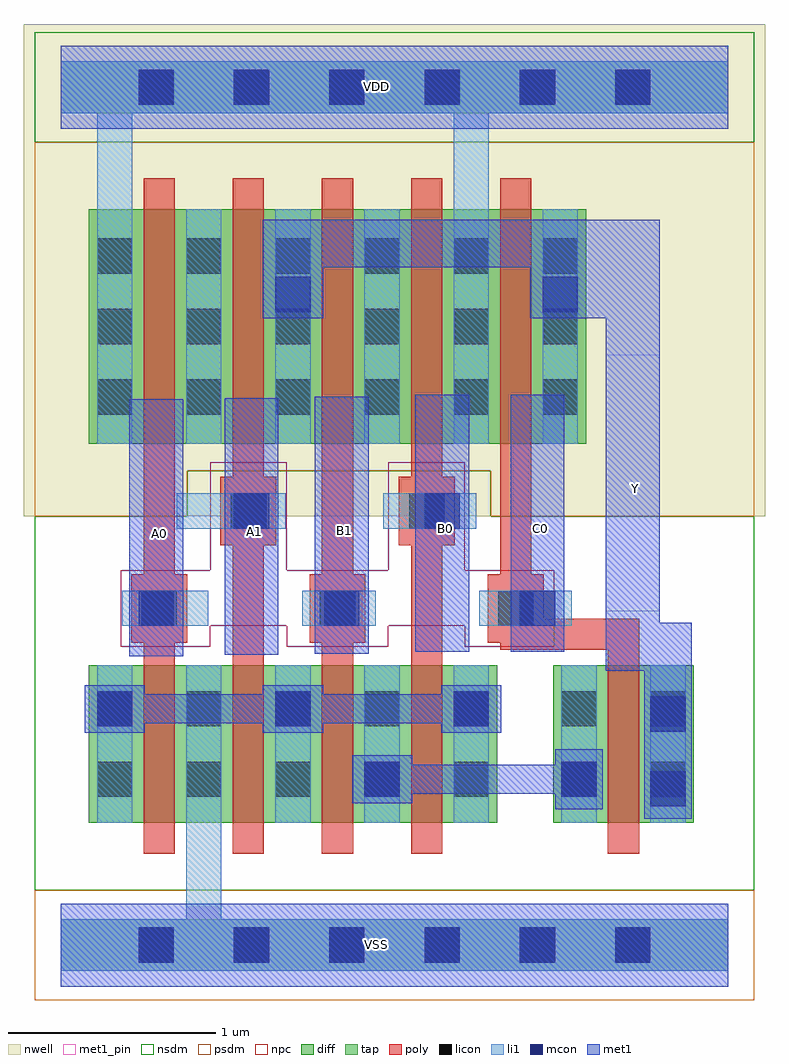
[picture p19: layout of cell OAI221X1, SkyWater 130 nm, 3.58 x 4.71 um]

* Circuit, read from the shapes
.subckt OAI221X1 A0 A1 B0 B1 C0 VDD VSS Y
XM1 VSS A0 n1 VSS sky130_fd_pr__nfet_01v8 w=0.76 l=0.15
XM2 n1 A1 VSS VSS sky130_fd_pr__nfet_01v8 w=0.76 l=0.15
XM3 n2 B1 n1 VSS sky130_fd_pr__nfet_01v8 w=0.76 l=0.15
XM4 n1 B0 n2 VSS sky130_fd_pr__nfet_01v8 w=0.76 l=0.15
XM5 Y C0 n2 VSS sky130_fd_pr__nfet_01v8 w=0.76 l=0.15
XM6 n3 A0 VDD VDD sky130_fd_pr__pfet_01v8 w=1.13 l=0.15
XM7 Y A1 n3 VDD sky130_fd_pr__pfet_01v8 w=1.13 l=0.15
XM8 n4 B1 Y VDD sky130_fd_pr__pfet_01v8 w=1.13 l=0.15
XM9 VDD B0 n4 VDD sky130_fd_pr__pfet_01v8 w=1.13 l=0.15
XM10 Y C0 VDD VDD sky130_fd_pr__pfet_01v8 w=1.13 l=0.15
.ends

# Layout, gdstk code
from math import pi, radians
import gdstk
lib = gdstk.Library(unit=1e-6, precision=1e-09)
def R(c, l, rs):  # rectangles x0, y0, x1, y1
    for r in rs: c.add(gdstk.rectangle(r[:2], r[2:], *l))
def A(c, l, x, y, w, h, nx, ny, dx, dy):  # array of equal rectangles
    R(c, l, [(x+i*dx, y+j*dy, x+i*dx+w, y+j*dy+h) for i in range(nx) for j in range(ny)])
def P(c, l, *ps):  # polygons
    for p in ps: c.add(gdstk.Polygon(p, *l))
nwell = (64, 20)
diff = (65, 20)
tap = (65, 44)
poly = (66, 20)
licon = (66, 44)
li1 = (67, 20)
mcon = (67, 44)
met1_pin = (68, 16)
met1 = (68, 20)
nsdm = (93, 44)
psdm = (94, 20)
npc = (95, 20)

licondiff_c_cdns_7515547 = lib.new_cell('LICONDIFF_C_CDNS_751554744755')
R(licondiff_c_cdns_7515547, diff, [(-0.125,-0.145,0.125,0.145)])
R(licondiff_c_cdns_7515547, licon, [(-0.085,-0.085,0.085,0.085), (-0.085,-0.085,0.085,0.085)])

pyl1con_c_cdns_751554744 = lib.new_cell('PYL1CON_C_CDNS_751554744751')
R(pyl1con_c_cdns_751554744, poly, [(-0.135,-0.165,0.135,0.165)])
R(pyl1con_c_cdns_751554744, licon, [(-0.085,-0.085,0.085,0.085)])
R(pyl1con_c_cdns_751554744, npc, [(-0.185,-0.185,0.185,0.185)])

l1m1_c_cdns_751554744750 = lib.new_cell('L1M1_C_CDNS_751554744750$$8')
R(l1m1_c_cdns_751554744750, li1, [(-0.085,-0.165,0.085,0.165)])
R(l1m1_c_cdns_751554744750, mcon, [(-0.085,-0.085,0.085,0.085)])
R(l1m1_c_cdns_751554744750, met1, [(-0.115,-0.145,0.115,0.145)])

c_l1m1_c_cdns_751554744750 = lib.new_cell('L1M1_C_CDNS_751554744750$$9')
R(c_l1m1_c_cdns_751554744750, li1, [(-0.165,-0.085,0.165,0.085)])
R(c_l1m1_c_cdns_751554744750, mcon, [(-0.085,-0.085,0.085,0.085)])
R(c_l1m1_c_cdns_751554744750, met1, [(-0.115,-0.145,0.115,0.145)])

c_l1m1_c_cdns_751554744750_ = lib.new_cell('L1M1_C_CDNS_751554744750$$7')
R(c_l1m1_c_cdns_751554744750_, li1, [(-0.085,-0.345,0.085,0.345)])
R(c_l1m1_c_cdns_751554744750_, mcon, [(-0.085,-0.265,0.085,-0.095), (-0.085,0.095,0.085,0.265)])
R(c_l1m1_c_cdns_751554744750_, met1, [(-0.115,-0.325,0.115,0.325)])

oai221x1 = lib.new_cell('OAI221X1')
R(oai221x1, nwell, [(-0.18,2.07,3.4,4.445)])
R(oai221x1, diff, [(0.135,0.59,2.105,1.35), (2.375,0.59,3.055,1.35), (0.135,2.42,2.535,3.55)])
A(oai221x1, poly, 0.4, 0.44, 0.15, 3.26, 4, 1, 0.43, 0)
P(oai221x1, poly, [(2.79,1.575),(2.27,1.575),(2.27,3.7),(2.12,3.7),(2.12,1.425),(2.64,1.425),(2.64,0.44),(2.79,0.44)])
A(oai221x1, licon, 0.375, -0.085, 0.17, 0.17, 6, 2, 0.46, 4.14)
A(oai221x1, licon, 0.175, 0.715, 0.17, 0.17, 5, 2, 0.43, 0.34)
A(oai221x1, licon, 0.175, 2.56, 0.17, 0.17, 3, 3, 0.86, 0.34)
A(oai221x1, licon, 2.325, 2.56, 0.17, 0.17, 1, 3, 0, 0.34)
R(oai221x1, licon, [(2.415,0.715,2.585,0.885), (2.845,0.715,3.015,0.885), (2.415,1.055,2.585,1.225), (2.845,1.055,3.015,1.225)])
A(oai221x1, li1, 1.035, 0.59, 0.17, 0.76, 3, 1, 0.43, 0)
R(oai221x1, li1, [(0.175,0.59,0.345,1.35), (2.415,0.59,2.585,1.35), (2.845,0.59,3.015,1.35), (1.035,2.42,1.205,3.55), (2.325,2.42,2.495,3.55)])
P(oai221x1, li1, [(3.22,0.125),(0.775,0.125),(0.775,1.35),(0.605,1.35),(0.605,0.125),(0,0.125),(0,-0.125),(3.22,-0.125)],
  [(3.22,4.265),(0,4.265),(0,4.015),(0.175,4.015),(0.175,2.42),(0.345,2.42),(0.345,4.015),(1.895,4.015),(1.895,2.42),(2.065,2.42),(2.065,4.015),(3.22,4.015)])
A(oai221x1, mcon, 0.375, -0.085, 0.17, 0.17, 6, 2, 0.46, 4.14)
R(oai221x1, met1_pin, [(0.33,1.395,0.59,2.635), (0.79,1.4,1.05,2.64), (1.225,1.405,1.485,2.645), (1.71,1.415,1.97,2.655), (2.17,1.415,2.43,2.655), (2.63,1.61,2.89,2.85)])
P(oai221x1, met1, [(3.045,1.555),(2.89,1.555),(2.89,3.5),(0.975,3.5),(0.975,3.025),(1.265,3.025),(1.265,3.27),(2.265,3.27),(2.265,3.025),(2.63,3.025),(2.63,1.325),(2.815,1.325),(2.815,0.935),(3.045,0.935)])
R(oai221x1, nsdm, [(-0.125,3.875,3.345,4.405)])
P(oai221x1, nsdm, [(3.345,2.07),(2.075,2.07),(2.075,2.29),(0.61,2.29),(0.61,2.07),(-0.125,2.07),(-0.125,0.265),(3.345,0.265)])
R(oai221x1, psdm, [(-0.125,-0.265,3.345,0.265)])
P(oai221x1, psdm, [(3.345,3.875),(-0.125,3.875),(-0.125,2.07),(0.61,2.07),(0.61,2.29),(2.075,2.29),(2.075,2.07),(3.345,2.07)])
P(oai221x1, npc, [(2.38,1.81),(1.95,1.81),(1.95,2.33),(1.58,2.33),(1.58,1.81),(1.09,1.81),(1.09,2.33),(0.72,2.33),(0.72,1.81),(0.29,1.81),(0.29,1.44),(0.72,1.44),(0.72,1.54),(1.09,1.54),(1.09,1.44),(1.58,1.44),(1.58,1.54),(1.95,1.54),(1.95,1.44),(2.38,1.44)])
oai221x1.add(gdstk.FlexPath([(2.02,1.625),(2.185,1.625)], 0.17, ends=(0, 0.085), simple_path=True, layer=67, datatype=20))  # li1
oai221x1.add(gdstk.FlexPath([(1.55,2.42),(1.55,3.55)], 0.17, ends="flush", simple_path=True, layer=67, datatype=20))  # li1
oai221x1.add(gdstk.FlexPath([(0.69,2.42),(0.69,3.55)], 0.17, ends="flush", simple_path=True, layer=67, datatype=20))  # li1
oai221x1.add(gdstk.FlexPath([(0.46,1.625),(0.625,1.625)], 0.17, ends=(0, 0.085), simple_path=True, layer=67, datatype=20))  # li1
oai221x1.add(gdstk.FlexPath([(0.56,2.095),(0.81,2.095)], 0.17, ends=(0, 0.085), simple_path=True, layer=67, datatype=20))  # li1
oai221x1.add(gdstk.FlexPath([(1.165,1.625),(1.33,1.625)], 0.17, ends=(0, 0.085), simple_path=True, layer=67, datatype=20))  # li1
oai221x1.add(gdstk.FlexPath([(1.555,2.095),(1.72,2.095)], 0.17, ends=(0, 0.085), simple_path=True, layer=67, datatype=20))  # li1
oai221x1.add(gdstk.FlexPath([(0.26,1.14),(1.98,1.14)], 0.14, ends="flush", simple_path=True, layer=68, datatype=20))  # met1
oai221x1.add(gdstk.FlexPath([(1.55,0.8),(2.5,0.8)], 0.14, ends="flush", simple_path=True, layer=68, datatype=20))  # met1
oai221x1.add(gdstk.FlexPath([(0.46,1.395),(0.46,2.635)], 0.26, ends="flush", simple_path=True, layer=68, datatype=20))  # met1
oai221x1.add(gdstk.FlexPath([(0.92,1.4),(0.92,2.64)], 0.26, ends="flush", simple_path=True, layer=68, datatype=20))  # met1
oai221x1.add(gdstk.FlexPath([(2.3,1.415),(2.3,2.655)], 0.26, ends="flush", simple_path=True, layer=68, datatype=20))  # met1
oai221x1.add(gdstk.FlexPath([(1.84,1.415),(1.84,2.655)], 0.26, ends="flush", simple_path=True, layer=68, datatype=20))  # met1
oai221x1.add(gdstk.FlexPath([(1.355,1.405),(1.355,2.645)], 0.26, ends="flush", simple_path=True, layer=68, datatype=20))  # met1
oai221x1.add(gdstk.FlexPath([(0,4.14),(3.22,4.14)], 0.4, ends="flush", simple_path=True, layer=68, datatype=20))  # met1
oai221x1.add(gdstk.FlexPath([(0,0),(3.22,0)], 0.4, ends="flush", simple_path=True, layer=68, datatype=20))  # met1
oai221x1.add(gdstk.FlexPath([(0,0),(3.22,0)], 0.4, ends="flush", simple_path=True, layer=68, datatype=16))  # met1_pin
oai221x1.add(gdstk.FlexPath([(0,4.14),(3.22,4.14)], 0.4, ends="flush", simple_path=True, layer=68, datatype=16))  # met1_pin
oai221x1.add(gdstk.FlexPath([(0,4.14),(3.22,4.14)], 0.25, ends="flush", simple_path=True, layer=65, datatype=44))  # tap
oai221x1.add(gdstk.FlexPath([(0,0),(3.22,0)], 0.25, ends="flush", simple_path=True, layer=65, datatype=44))  # tap
oai221x1.add(gdstk.Reference(licondiff_c_cdns_7515547, (1.55,3.325)))
oai221x1.add(gdstk.Reference(licondiff_c_cdns_7515547, (1.55,2.985)))
oai221x1.add(gdstk.Reference(licondiff_c_cdns_7515547, (1.55,2.645)))
oai221x1.add(gdstk.Reference(licondiff_c_cdns_7515547, (0.69,3.325)))
oai221x1.add(gdstk.Reference(licondiff_c_cdns_7515547, (0.69,2.985)))
oai221x1.add(gdstk.Reference(licondiff_c_cdns_7515547, (0.69,2.645)))
oai221x1.add(gdstk.Reference(pyl1con_c_cdns_751554744, (0.905,2.095), x_reflection=True))
oai221x1.add(gdstk.Reference(pyl1con_c_cdns_751554744, (2.195,1.625), x_reflection=True))
oai221x1.add(gdstk.Reference(pyl1con_c_cdns_751554744, (1.335,1.625), x_reflection=True))
oai221x1.add(gdstk.Reference(pyl1con_c_cdns_751554744, (0.475,1.625), x_reflection=True))
oai221x1.add(gdstk.Reference(pyl1con_c_cdns_751554744, (1.765,2.095), x_reflection=True))
oai221x1.add(gdstk.Reference(l1m1_c_cdns_751554744750, (2.5,0.8), rotation=pi))
oai221x1.add(gdstk.Reference(c_l1m1_c_cdns_751554744750, (2.41,3.14), rotation=pi/2))
oai221x1.add(gdstk.Reference(c_l1m1_c_cdns_751554744750, (0.26,1.14), rotation=pi/2))
oai221x1.add(gdstk.Reference(c_l1m1_c_cdns_751554744750, (1.12,1.14), rotation=pi/2))
oai221x1.add(gdstk.Reference(c_l1m1_c_cdns_751554744750, (1.98,1.14), rotation=pi/2))
oai221x1.add(gdstk.Reference(c_l1m1_c_cdns_751554744750, (1.55,0.8), rotation=pi/2))
oai221x1.add(gdstk.Reference(c_l1m1_c_cdns_751554744750, (1.355,1.625), x_reflection=True))
oai221x1.add(gdstk.Reference(c_l1m1_c_cdns_751554744750, (0.46,1.625), x_reflection=True))
oai221x1.add(gdstk.Reference(c_l1m1_c_cdns_751554744750, (2.3,1.625), x_reflection=True))
oai221x1.add(gdstk.Reference(c_l1m1_c_cdns_751554744750, (0.92,2.095), x_reflection=True))
oai221x1.add(gdstk.Reference(c_l1m1_c_cdns_751554744750, (1.84,2.095), x_reflection=True))
oai221x1.add(gdstk.Reference(c_l1m1_c_cdns_751554744750, (1.12,3.14), rotation=pi/2))
oai221x1.add(gdstk.Reference(c_l1m1_c_cdns_751554744750_, (2.93,0.935)))
oai221x1.add(gdstk.Label('VSS', (1.525,0.005), layer=68, texttype=5))
oai221x1.add(gdstk.Label('A0', (0.475,1.985), layer=68, texttype=5))
oai221x1.add(gdstk.Label('A1', (0.935,1.995), layer=68, texttype=5))
oai221x1.add(gdstk.Label('B1', (1.37,2), layer=68, texttype=5))
oai221x1.add(gdstk.Label('B0', (1.855,2.01), layer=68, texttype=5))
oai221x1.add(gdstk.Label('C0', (2.315,2.01), layer=68, texttype=5))
oai221x1.add(gdstk.Label('Y', (2.775,2.205), layer=68, texttype=5))
oai221x1.add(gdstk.Label('VDD', (1.525,4.145), layer=68, texttype=5))

lib.write_gds('OAI221X1.gds')
